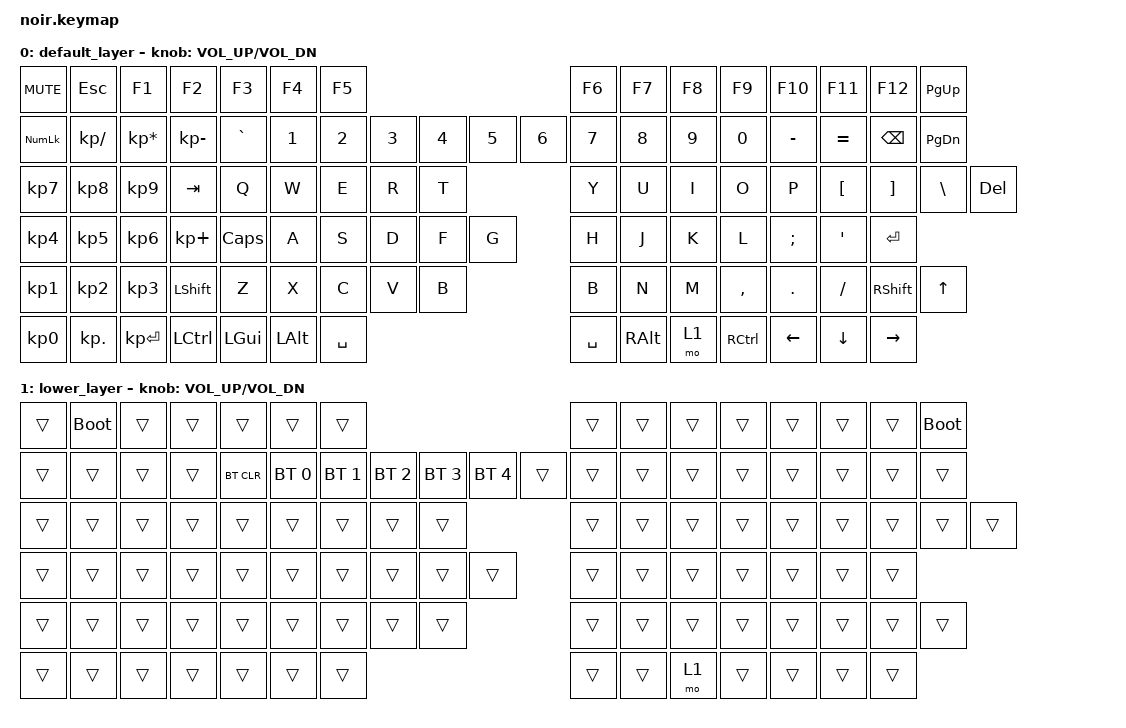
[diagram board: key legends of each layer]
/*
 * Copyright (c) 2020 The ZMK Contributors
 *
 * SPDX-License-Identifier: MIT
 */

#include <behaviors.dtsi>
#include <dt-bindings/zmk/bt.h>
#include <dt-bindings/zmk/keys.h>

#define BASE 0
#define LOWER 1

/ {
    keymap {
        compatible = "zmk,keymap";

        default_layer {
            // ------------------------------------------------------------------------------------------------------------
            // |EC11 |                      |ESC    |F1     |F2     |F3     |F4     |F5  |                  |F6      |F7      |F8     |F9       |F10     |F11     |F12     |PguP|
            // |NUM  |/     |*      |-      |~      |  1    |  2    |  3    |  4    |  5    | 6  |          |  7     |  8     |  9    |   0     |   -    |+       |BACK    |PgDn|
            // |7    |8     |9              |  TAB  |  Q    |  W    |  E    |  R    |  T    |               |  Y     |  U     |  I    |  O      |   P    |  "["   |   "]"  |  \     |DEL |
            // |4    |5     |6      |+      |  CAP  |  A    |  S    |  D    |  F    |  G   |                |  H     |  J     |  K    |  L      |   ;    |   '    |ENTER|
            // |1    |2     |3              | SHIFT |  Z    |  X    |  C    |  V    |  B   |                |  B     |  N     |  M    |  ,      |  .     |   /    | SHIFT  | UP |
            // |0           |.      |ENTER  |CTRL   | GUI   | ALT   | SPACE |                                        | SPACE  | ALT   | LOWER   | CTRL   |LEFT    |DOWN    |RIGHT|

            bindings = <
&kp C_MUTE  &kp ESC        &kp F1           &kp F2        &kp F3     &kp F4    &kp F5                                                 &kp F6  &kp F7     &kp F8    &kp F9     &kp F10        &kp F11    &kp F12        &kp PG_UP
&kp KP_NUM  &kp KP_DIVIDE  &kp KP_MULTIPLY  &kp KP_MINUS  &kp GRAVE  &kp N1    &kp N2    &kp N3     &kp N4    &kp N5     &kp N6       &kp N7  &kp N8     &kp N9    &kp N0     &kp MINUS      &kp EQUAL  &kp BACKSPACE  &kp PG_DN
&kp KP_N7   &kp KP_N8      &kp KP_N9        &kp TAB       &kp Q      &kp W     &kp E     &kp R      &kp T                             &kp Y   &kp U      &kp I     &kp O      &kp P          &kp LBKT   &kp RBKT       &kp BSLH      &kp DEL
&kp KP_N4   &kp KP_N5      &kp KP_N6        &kp KP_PLUS   &kp CAPS   &kp A     &kp S     &kp D      &kp F  &kp G                      &kp H   &kp J      &kp K     &kp L      &kp SEMICOLON  &kp SQT    &kp ENTER
&kp KP_N1   &kp KP_N2      &kp KP_N3        &kp LSHFT     &kp Z      &kp X     &kp C     &kp V      &kp B                             &kp B   &kp N      &kp M     &kp COMMA  &kp DOT        &kp FSLH   &kp RSHFT      &kp UP
&kp KP_N0                  &kp KP_DOT       &kp KP_ENTER  &kp LCTRL  &kp LGUI  &kp LALT  &kp SPACE                                    &kp SPACE  &kp RALT  &mo 1      &kp RCTRL      &kp LEFT   &kp DOWN       &kp RIGHT
                                                                                                            
                                                                                                            
                                                                                                            
                                                                                                           
                                                                                                            
                                                                                                                    
            >;

            sensor-bindings = <&inc_dec_kp C_VOL_UP C_VOL_DN>;
        };

        lower_layer {
            // ------------------------------------------------------------------------------------------------------------            
            // |EC11 |                      |BOOTLOADER|F1      |F2     |F3     |F4     |F5  |              |F6      |F7      |F8     |F9       |F10     |F11     |F12     |BOOTLOADER|
            // |NUM  |/     |*      |-      |BT_CLR |BT1    |BT2    |BT3    |BT4    |BT5    | 6  |          |  7     |  8     |  9    |   0     |   -    |+       |BACK    |PgDn|
            // |7    |8     |9              |  TAB  |  Q    |  W    |  E    |  R    |  T    |               |  Y     |  U     |  I    |  O      |   P    |  "["   |   "]"  |  \     |DEL |
            // |4    |5     |6      |+      |  CAP  |  A    |  S    |  D    |  F    |  G   |                |  H     |  J     |  K    |  L      |   ;    |   '    |ENTER|
            // |1    |2     |3              | SHIFT |  Z    |  X    |  C    |  V    |  B   |                |  B     |  N     |  M    |  ,      |  .     |   /    | SHIFT  | UP |
            // |0           |.      |ENTER  |CTRL   | GUI   | ALT   | SPACE |                                        | SPACE  | ALT   | LOWER   | CTRL   |LEFT    |DOWN    |RIGHT|

            bindings = <
&trans  &bootloader  &trans  &trans  &trans      &trans        &trans                                                           &trans  &trans  &trans  &trans  &trans  &trans  &trans  &bootloader
&trans  &trans       &trans  &trans  &bt BT_CLR  &bt BT_SEL 0  &bt BT_SEL 1  &bt BT_SEL 2  &bt BT_SEL 3  &bt BT_SEL 4  &trans
&trans  &trans       &trans  &trans  &trans      &trans        &trans        &trans        &trans
&trans  &trans       &trans  &trans  &trans      &trans        &trans        &trans        &trans
&trans  &trans       &trans  &trans  &trans      &trans        &trans        &trans        &trans
&trans               &trans  &trans  &trans      &trans        &trans        &trans        &trans
                                                                                                         
                                                                                                         &trans  &trans  &trans  &trans  &trans  &trans  &trans  &trans
                                                                                                         &trans  &trans  &trans  &trans  &trans  &trans  &trans  &trans
                                                                                                         &trans  &trans  &trans  &trans  &trans  &trans  &trans  &trans
                                                                                                         &trans  &trans  &trans  &trans  &trans  &trans  &trans  &trans
                                                                                                                 &trans  &trans  &mo 1   &trans  &trans  &trans  &trans
            >;

            sensor-bindings = <&inc_dec_kp C_VOL_UP C_VOL_DN>;
        };
    };
};
